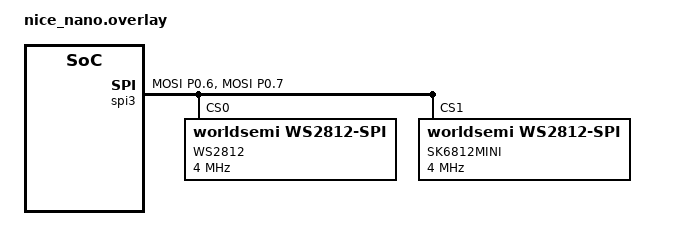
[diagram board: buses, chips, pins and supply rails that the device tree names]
#include <dt-bindings/led/led.h>

&pinctrl {
    spi3_default: spi3_default {
        ws2812_group: group1 {
            psels = <NRF_PSEL(SPIM_MOSI, 0, 6)>;
        };
        sk6812_group: group2 {
            psels = <NRF_PSEL(SPIM_MOSI, 0, 7)>;
        };
    };

    spi3_sleep: spi3_sleep {
        ws2812_group: group1 {
            psels = <NRF_PSEL(SPIM_MOSI, 0, 6)>;
            low-power-enable;
        };
        sk6812_group: group2 {
            psels = <NRF_PSEL(SPIM_MOSI, 0, 7)>;
            low-power-enable;
        };
    };
};

&spi3 {
    compatible = "nordic,nrf-spim";
    status = "okay";

    pinctrl-0 = <&spi3_default>;
    pinctrl-1 = <&spi3_sleep>;
    pinctrl-names = "default", "sleep";

    ws2812_led_strip: ws2812@0 {
        compatible = "worldsemi,ws2812-spi";
        label = "WS2812";
        reg = <0>;
        spi-max-frequency = <4000000>;
        chain-length = <6>;
        spi-one-frame = <0x70>;
        spi-zero-frame = <0x40>;
        color-mapping = <LED_COLOR_ID_GREEN
                            LED_COLOR_ID_RED
                            LED_COLOR_ID_BLUE>;
    };

    sk6812_led_strip: sk6812@1 {
        compatible = "worldsemi,ws2812-spi"; // Si es compatible
        label = "SK6812MINI";
        reg = <1>;
        spi-max-frequency = <4000000>;
        chain-length = <21>;
        spi-one-frame = <0x70>;
        spi-zero-frame = <0x40>;
        color-mapping = <LED_COLOR_ID_GREEN
                            LED_COLOR_ID_RED
                            LED_COLOR_ID_BLUE>;
    };
};

/ {
    chosen {
        zmk,underglow = &ws2812_led_strip;
        // Si deseas tener control separado para los SK6812MINI, puedes añadir una línea similar:
        // zmk,underglow_sk6812 = &sk6812_led_strip;
    };
};

